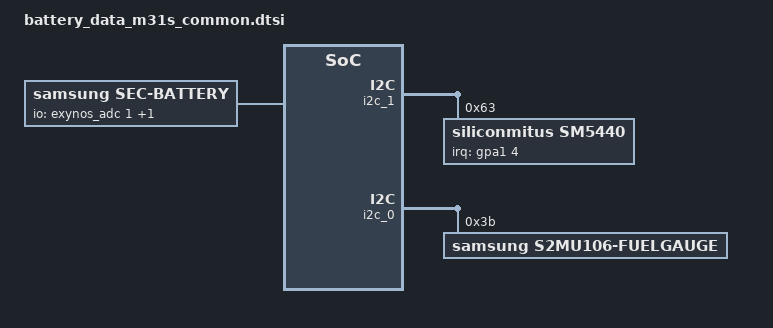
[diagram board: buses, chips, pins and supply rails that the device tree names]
/*
 * Vogue battery device tree common
 *
 * Copyright (c) 2020 Samsung Electronics Co., Ltd.
 *		http://www.samsung.com
 *
 * This program is free software; you can redistribute it and/or modify
 * it under the terms of the GNU General Public License version 2 as
 * published by the Free Software Foundation.
 */

#include <dt-bindings/battery/sec_battery_param_define.h>

/ {
	fragment@battery {
		target-path = "/";
		__overlay__ {
			pdic-manager {
				/* sink */
				pdic,max_power = <5000>;
				pdic,op_power = <2500>;
				pdic,max_voltage = <6000>;
				pdic,max_current = <2000>;
				pdic,min_current = <500>;

				pdic,giveback = <0>;
				pdic,usb_com_capable = <1>;
				pdic,no_usb_suspend = <1>;

				/* source */
				source,max_voltage = <5000>;
				source,min_voltage = <4000>;
				source,max_power = <2500>;

				/* sink cap */
				sink,capable_max_voltage = <5000>;
			};

			sec-direct-charger {
				status = "okay";
				compatible = "samsung,sec-direct-charger";

				charger,battery_name = "battery";
				charger,main_charger = "s2mu106-charger";
				charger,direct_charger = "sm5440-charger";

				charger,dchg_min_current = <2000>;
				charger,dchg_temp_low_threshold = <180>;
				charger,dchg_temp_high_threshold = <410>;

			};

			battery {
				status = "okay";
				compatible = "samsung,sec-battery";

				pinctrl-names = "default";

				battery,vendor = "Battery";
				battery,charger_name = "sec-direct-charger";
				battery,fuelgauge_name = "s2mu106-fuelgauge";
				battery,technology = <2>; /* POWER_SUPPLY_TECHNOLOGY_LION */
				battery,fgsrc_switch_name = "s2mu106-fuelgauge"; /* Fuelgauge voltage source */

				battery,batt_data_version = <1>;

				battery,chip_vendor = "LSI";
				battery,temp_adc_type = <SEC_BATTERY_ADC_TYPE_AP>;

				battery,temp_check_type = <SEC_BATTERY_TEMP_CHECK_TEMP>;
				battery,usb_temp_check_type = <SEC_BATTERY_TEMP_CHECK_NONE>;
				battery,chg_temp_check_type = <SEC_BATTERY_TEMP_CHECK_TEMP>;
				battery,wpc_temp_check_type = <SEC_BATTERY_TEMP_CHECK_NONE>;
				battery,dchg_temp_check_type = <SEC_BATTERY_TEMP_CHECK_ADC>;

				battery,thermal_source = <SEC_BATTERY_THERMAL_SOURCE_ADC>;
				battery,usb_thermal_source = <SEC_BATTERY_THERMAL_SOURCE_ADC>;
				battery,chg_thermal_source = <SEC_BATTERY_THERMAL_SOURCE_FG>;
				battery,wpc_thermal_source = <SEC_BATTERY_THERMAL_SOURCE_ADC>;
				battery,coil_thermal_source = <SEC_BATTERY_THERMAL_SOURCE_ADC>;
				battery,dchg_thermal_source = <SEC_BATTERY_THERMAL_SOURCE_FG>;

				battery,polling_time = <10 30 30 30 3600>;

				battery,temp_table_adc = <310 345 405 477 551 645 784 876 1019 1181
					1366 1562 1785 2006 2229 2475 2705 2915 3112 3318 3438 3539 3681>;
				battery,temp_table_data = <900 850 800 750 700 650 600 550 500 450
					400 350 300 250 200 150 100 50 0 (-50) (-100) (-150) (-200)>;

				battery,usb_temp_table_adc = <294 345 404 474 558 655 769 887 1021 1189
					1378 1586 1811 2048 2291 2512 2726 2932 3122 3293 3445 3575 3686>;
				battery,usb_temp_table_data = <900 850 800 750 700 650 600 550 500 450
					400 350 300 250 200 150 100 50 0 (-50) (-100) (-150) (-200)>;

				battery,chg_temp_table_adc = <285 320 380 450 528 617 743 850 992 1154
					1342 1537 1708 1982 2170 2450 2687 2900 3098 3272 3413 3467 3654>;
				battery,chg_temp_table_data = <900 850 800 750 700 650 600 550 500 450
					400 350 300 250 200 150 100 50 0 (-50) (-100) (-150) (-200)>;

				battery,wpc_temp_table_adc = <294 345 404 474 558 655 769 887 1021 1189
					1378 1586 1811 2048 2291 2512 2726 2932 3122 3293 3445 3575 3686>;
				battery,wpc_temp_table_data = <900 850 800 750 700 650 600 550 500 450
					400 350 300 250 200 150 100 50 0 (-50) (-100) (-150) (-200)>;

				battery,inbat_voltage = <1>;
				battery,inbat_voltage_table_adc = <2817 2803 2783 2753 2728 2701 2680 2654 2628 2597
								2565 2536 2509 2478 2450 2426 2401 2372 2343 2321 2290>;
				battery,inbat_voltage_table_data = <4383 4352 4306 4253 4204 4152 4101 4053 4002 3954
								3903 3852 3801 3750 3702 3654 3601 3552 3503 3456 3402>;

				battery,adc_check_count = <5>;

				battery,cable_check_type = <SEC_BATTERY_CABLE_CHECK_PSY>;
				battery,cable_source_type = <SEC_BATTERY_CABLE_SOURCE_EXTERNAL>;
				battery,polling_type = <SEC_BATTERY_MONITOR_ALARM>;
				battery,monitor_initial_count = <0>;

				battery,battery_check_type = <0>; /* SEC_BATTERY_CHECK_NONE */
				battery,check_count = <0>;
				battery,check_adc_max = <1440>;
				battery,check_adc_min = <0>;

				battery,ovp_uvlo_check_type = <SEC_BATTERY_OVP_UVLO_CHGPOLLING>;

				battery,temp_check_count = <1>;
				battery,overheatlimit_threshold = <700>;
				battery,overheatlimit_recovery = <680>;
				battery,usb_protection_temp = <610>;
				battery,temp_gap_bat_usb = <200>;

				battery,wire_warm_overheat_thresh = <500>;
				battery,wire_normal_warm_thresh = <410>;
				battery,wire_cool1_normal_thresh = <180>;
				battery,wire_cool2_cool1_thresh = <150>;
				battery,wire_cool3_cool2_thresh = <50>;
				battery,wire_cold_cool3_thresh = <0>;
				battery,wireless_warm_overheat_thresh = <450>;
				battery,wireless_normal_warm_thresh = <410>;
				battery,wireless_cool1_normal_thresh = <180>;
				battery,wireless_cool2_cool1_thresh = <150>;
				battery,wireless_cool3_cool2_thresh = <50>;
				battery,wireless_cold_cool3_thresh = <0>;

				battery,wire_warm_current = <2050>;	/* 0.36C */
				battery,wire_cool1_current = <3150>;	/* 0.72C */
				battery,wire_cool2_current = <1350>;	/* 0.24C */
				battery,wire_cool3_current = <550>;	/* 0.1C */
				battery,wireless_warm_current = <1050>;		/* 0.24C */
				battery,wireless_cool1_current = <3150>;	/* 0.72C */
				battery,wireless_cool2_current = <1050>;	/* 0.24C */
				battery,wireless_cool3_current = <450>;		/* 0.1C */

				battery,high_temp_topoff = <300>;
				battery,low_temp_topoff = <300>;
				battery,high_temp_float = <4150>;
				battery,low_temp_float = <4380>;

				battery,swelling_high_rechg_voltage = <4000>;
				battery,swelling_low_rechg_voltage = <4230>;

				battery,full_check_type = <SEC_BATTERY_FULLCHARGED_FG_CURRENT>;
				battery,full_check_type_2nd = <SEC_BATTERY_FULLCHARGED_FG_CURRENT>;
				battery,full_check_count = <1>;
				battery,chg_gpio_full_check = <0>;
				battery,chg_polarity_full_check = <1>;

				battery,chg_high_temp = <490>;
				battery,chg_high_temp_recovery = <450>;
				battery,dchg_high_temp = <490>;
				battery,dchg_high_temp_recovery = <450>;
				battery,dchg_high_batt_temp = <400>;
				battery,dchg_high_batt_temp_recovery = <380>;
				battery,chg_input_limit_current = <1000>;
				battery,chg_charging_limit_current = <1700>;
				battery,dchg_input_limit_current = <1000>;
				battery,dchg_charging_limit_current = <2000>;

				battery,wpc_temp_control_source = <TEMP_CONTROL_SOURCE_BAT_THM>;
				battery,wpc_high_temp = <410>;
				battery,wpc_high_temp_recovery = <400>;
				battery,wpc_charging_limit_current = <450>;
				battery,wpc_lcd_on_high_temp = <430>;
				battery,wpc_lcd_on_high_temp_rec = <300>;

				battery,wpc_store_high_temp = <410>;
				battery,wpc_store_high_temp_recovery = <400>;
				battery,wpc_store_lcd_on_high_temp = <380>;
				battery,wpc_store_lcd_on_high_temp_rec = <300>;

				battery,ta_alert_wa;

				battery,sleep_mode_limit_current = <500>;
				battery,wc_full_input_limit_current = <100>;
				battery,wc_cv_current = <820>;
				battery,wc_cv_pack_current = <630>;
				battery,wc_hero_stand_cc_cv = <70>;
				battery,wc_hero_stand_cv_current = <600>;
				battery,wc_hero_stand_hv_cv_current = <450>;

				battery,mix_high_temp = <420>;
				battery,mix_high_chg_temp = <500>;
				battery,mix_high_temp_recovery = <390>;

				/* SEC_BATTERY_FULL_CONDITION_NOTIMEFULL | SEC_BATTERY_FULL_CONDITION_VCELL */
				battery,full_condition_type = <13>;
				battery,full_condition_soc = <93>;
				battery,full_condition_vcell = <4330>;

				battery,recharge_check_count = <1>;
				battery,recharge_condition_type = <SEC_BATTERY_RECHARGE_CONDITION_VCELL>;
				battery,recharge_condition_soc = <98>;
				battery,recharge_condition_vcell = <4310>;

				battery,charging_total_time = <14400>;
				battery,hv_charging_total_time = <10800>;
				battery,normal_charging_total_time = <18000>;
				battery,usb_charging_total_time = <36000>;
				battery,recharging_total_time = <5400>;
				battery,charging_reset_time = <0>;
				battery,chg_float_voltage = <4380>;
				battery,chg_float_voltage_conv = <1>;

				battery,siop_event_check_type = <1>;
				battery,siop_call_cv_current = <330>;
				battery,siop_call_cc_current = <330>;

				battery,pre_afc_work_delay = <2000>;
				battery,pre_wc_afc_work_delay = <4000>;
				battery,pre_afc_input_current = <500>;
				battery,pre_wc_afc_input_current = <500>;
				battery,prepare_ta_delay = <0>; /* msec */

				battery,siop_input_limit_current = <1200>;
				battery,siop_charging_limit_current = <1000>;
				battery,siop_hv_input_limit_current = <700>;
				battery,siop_hv_input_limit_current_2nd = <450>;
				battery,siop_hv_charging_limit_current = <1000>;
				battery,siop_apdo_input_limit_current = <1200>;
				battery,siop_apdo_charging_limit_current = <2000>;

				battery,siop_wireless_input_limit_current = <600>;
				battery,siop_wireless_charging_limit_current = <700>;
				battery,siop_hv_wireless_input_limit_current = <600>;
				battery,siop_hv_wireless_charging_limit_current = <700>;
				battery,siop_store_hv_wireless_input_limit_current = <450>;

				battery,rp_current_rp1 = <500>;
				battery,rp_current_rp2 = <1500>;
				battery,rp_current_rp3 = <3000>;
				battery,rp_current_rdu_rp3 = <2100>;
				battery,rp_current_abnormal_rp3 = <1800>;

				battery,pd_charging_charge_power = <15000>;
				battery,max_charging_current = <3150>;
				battery,max_charging_charge_power = <25000>; /* 25W */

				/* cycle, chg_float_voltage, recharge_condition_vcell, full_condition_vcell, full_condition_soc */
				battery,age_data = <0 4380 4310 4330 93
					300 4360 4290 4310 92
					400 4340 4270 4290 91
					700 4320 4250 4270 90
					1000 4270 4200 4220 89>;

				battery,health_condition = <
					/* CYCLE ASOC */
					900 0  /* GOOD */
					1200 0 /* NORMAL */
					1500 0 /* AGED */
					>;

				/* step charging option */
				battery,step_charging_type = <0>;
				battery,step_charging_charge_power = <12000>;
				battery,step_charging_condition = <45 100>;
				battery,step_charging_condition_curr = <3150 3150>;
				battery,step_charging_current = <3150 3150>;
				battery,step_charging_float_voltage = <4150 4380>;

				/* direct step charging option */
				battery,dc_step_chg_type = <0xE9>;
				battery,dc_step_chg_charge_power = <22000>;
				battery,dc_step_chg_step = <3>;
				battery,dc_step_chg_cond_vol = <4090 4190 4380>; /* STEP_CHARGING_CONDITION_VOLTAGE */
				battery,dc_step_chg_cond_iin = <1950 1800 0>; /* STEP_CHARGING_CONDITION_INPUT_CURRENT */
				battery,dc_step_chg_iin_check_cnt = <3>;
				battery,dc_step_chg_cond_soc = <12 50 100>; /* STEP_CHARGING_CONDITION_SOC */
				battery,dc_step_chg_val_vfloat = <4090 4190 4380>; /* STEP_CHARGING_CONDITION_FLOAT_VOLTAGE */
				battery,dc_step_chg_val_iout = <4800 3900 3600>;

				battery,max_input_voltage = <9000>; /* mV */
				battery,max_input_current = <3000>;  /* mA */

				battery,enable_sysovlo_irq;
				battery,enable_noise_wa;

				battery,standard_curr = <3600>;
				battery,expired_time = <11400>;		/*130 + 60 min*/
				battery,recharging_expired_time = <5400>;

				battery,battery_full_capacity = <6000>;
				battery,cisd_max_voltage_thr = <5000>; /* batttery ovp dettection voltage */
				battery,cisd_alg_index = <8>;
				battery,ignore_cisd_index = <0 960>; /* Do not use AFC_FAIL to DROP_VALUE */
				battery,ignore_cisd_index_d = <0 120>; /* Do not use AFC_FAIL_PER_DAY to DROP_VALUE_PER_DAY */

				io-channels = <&exynos_adc 1>, <&exynos_adc 2>;
				io-channel-names = "adc-temp", "adc-in-bat";
				#io-channel-cells = <5>;
				io-channel-ranges;

				battery,ttf_hv_charge_current = <2700>;
				battery,ttf_dc25_charge_current = <3340>;
				battery,ttf_capacity = <4600>;
				battery,cv_data = <
							3384	802		2080
							3274	811		2029
							3122	820		1968
							2985	830		1907
							2817	841		1836
							2636	850		1765
							2546	860		1694
							2334	870		1602
							2275	880		1531
							2145	890		1430
							1982	900		1344
							1845	910		1242
							1755	920		1130
							1593	930		1018
							1432	940		886
							1339	950		734
							1215	960		591
							1068	970		428
							994		980		265
							935		990		143
							897		1000	0
							>;
			};

			battery_params {
				battery,battery_data =
					<
					/***** battery data for 4.38 *****/
					/* battery,battery_table3 */
					44	11	176	10	53	10	189	9	73	9
					219	8	116	8	22	8	194	7	86	7
					252	6	195	6	151	6	115	6	85	6
					51	6	4	6	213	5	147	5	126	5
					153	3	107	1	107	8	0	8	149	7
					42	7	190	6	83	6	232	5	125	5
					17	5	166	4	59	4	208	3	100	3
					249	2	142	2	35	2	184	1	76	1
					225	0	118	0	11	0	233	15

					/* battery,battery_table4 */
					10	10	10	10	41	41	41	41	41	41
					42	43	43	43	43	43	43	44	45	46
					51	154

					/* battery,batcap */
					0x68 0x56 0x33 0x10 /* [0x0E] [0x0F] [0x10] [0x11] */
					/* battery,accum */
					0x00 0x08 /* [0x44] [0x45] */

					/* battery,soc_arr_val */
					10524	10000	9476	8953	8429	7906	7382	6858	6335	5811
					5288	4764	4241	3717	3194	2670	2146	1623	1099	576
					52	(-111)

					/* battery,ocv_arr_val */
					43963	43361	42759	42175	41608	41069	40566	40108	39696	39170
					38729	38454	38237	38061	37915	37749	37521	37289	36969	36865
					34496	31771

					/* battery,tuning */
					0x00

					/***** battery data for 4.36 *****/
					/* battery,battery_table3 */
					44 11 176 10 53 10 189 9 73 9
					219 8 116 8 22 8 194 7 86 7
					252 6 195 6 151 6 115 6 85 6
					51 6 4 6 213 5 147 5 126 5
					153 3 107 1 136 8 28 8 176 7
					67 7 215 6 106 6 254 5 146 5
					37 5 185 4 76 4 224 3 116 3
					7 3 155 2 47 2 194 1 86 1
					234 0 125 0 17 0 239 15

					/* battery,battery_table4 */
					10 10 10 10 41 41 41 41 41 41
					42 43 43 43 43 43 43 44 45 46
					51 154

					/* battery,batcap */
					0xEC 0x55 0x1C 0x10 /* [0x0E] [0x0F] [0x10] [0x11] */
					/* battery,accum */
					0x00 0x08 /* [0x44] [0x45] */

					/* battery,soc_arr_val */
					10665 10136 9607 9078 8549 8020 7491 6961 6432 5903
					5374 4844 4315 3786 3257 2728 2199 1670 1141 611
					82 (-82)

					/* battery,ocv_arr_val */
					43963 43361 42759 42175 41608 41069 40566 40108 39696 39170
					38729 38454 38237 38061 37915 37749 37521 37289 36969 36865
					34496 31771

					/* battery,tuning */
					0x00

					/***** battery data for 4.34 *****/
					/* battery,battery_table3 */
					44 11 176 10 53 10 189 9 73 9
					219 8 116 8 22 8 194 7 86 7
					252 6 195 6 151 6 115 6 85 6
					51 6 4 6 213 5 147 5 126 5
					153 3 107 1 175 8 64 8 210 7
					100 7 246 6 135 6 25 6 171 5
					60 5 206 4 96 4 242 3 131 3
					21 3 167 2 56 2 202 1 92 1
					238 0 127 0 17 0 239 15

					/* battery,battery_table4 */
					10 10 10 10 41 41 41 41 41 41
					42 43 43 43 43 43 43 44 45 46
					51 154

					/* battery,batcap */
					0x70 0x54 0xD5 0x0F /* [0x0E] [0x0F] [0x10] [0x11] */
					/* battery,accum */
					0x00 0x08 /* [0x44] [0x45] */

					/* battery,soc_arr_val */
					10853 10314 9776 9237 8699 8161 7622 7083 6545 6006
					5468 4929 4391 3853 3314 2776 2237 1699 1161 622
					84 (-84)

					/* battery,ocv_arr_val */
					43963 43361 42759 42175 41608 41069 40566 40108 39696 39170
					38729 38454 38237 38061 37915 37749 37521 37289 36969 36865
					34496 31771


					/* battery,tuning */
					0x00

					/***** battery data for 4.32 *****/
					/* battery,battery_table3 */
					44 11 176 10 53 10 189 9 73 9
					219 8 116 8 22 8 194 7 86 7
					252 6 195 6 151 6 115 6 85 6
					51 6 4 6 213 5 147 5 126 5
					153 3 107 1 229 8 116 8 3 8
					146 7 33 7 176 6 63 6 206 5
					93 5 236 4 123 4 10 4 153 3
					40 3 183 2 70 2 213 1 101 1
					244 0 131 0 18 0 238 15

					/* battery,battery_table4 */
					10 10 10 10 41 41 41 41 41 41
					42 43 43 43 43 43 43 44 45 46
					51 154

					/* battery,batcap */
					0x68 0x52 0x73 0x0F /* [0x0E] [0x0F] [0x10] [0x11] */
					/* battery,accum */
					0x00 0x08 /* [0x44] [0x45] */

					/* battery,soc_arr_val */
					11120 10568 10016 9465 8913 8361 7810 7257 6706 6154
					5602 5051 4499 3947 3396 2844 2292 1741 1189 637
					86 (-86)

					/* battery,ocv_arr_val */
					43963 43361 42759 42175 41608 41069 40566 40108 39696 39170
					38729 38454 38237 38061 37915 37749 37521 37289 36969 36865
					34496 31771

					/* battery,tuning */
					0x00

					/***** battery data for 4.27 *****/
					/* battery,battery_table3 */
					44 11 176 10 53 10 189 9 73 9
					219 8 116 8 22 8 194 7 86 7
					252 6 195 6 151 6 115 6 85 6
					51 6 4 6 213 5 147 5 126 5
					153 3 107 1 77 9 215 8 97 8
					235 7 117 7 254 6 136 6 18 6
					156 5 38 5 176 4 57 4 195 3
					77 3 215 2 97 2 235 1 117 1
					255 0 137 0 18 0 238 15

					/* battery,battery_table4 */
					10 10 10 10 41 41 41 41 41 41
					42 43 43 43 43 43 43 44 45 46
					51 154

					/* battery,batcap */
					0xD4 0x4E 0xC7 0x0E /* [0x0E] [0x0F] [0x10] [0x11] */
					/* battery,accum */
					0x00 0x08 /* [0x44] [0x45] */

					/* battery,soc_arr_val */
					11626 11049 10472 9896 9319 8742 8165 7588 7011 6434
					5858 5281 4704 4127 3550 2974 2397 1820 1243 667
					90 (-90)

					/* battery,ocv_arr_val */
					43963 43361 42759 42175 41608 41069 40566 40108 39696 39170
					38729 38454 38237 38061 37915 37749 37521 37289 36969 36865
					34496 31771

					/* battery,tuning */
					0x00
					>;
			};

			s2mu106-charger {
				status = "disable";
				compatible = "samsung,s2mu106-charger";
			};

			/* sec_battery_cable
			*	0	UNKNOWN,
			*	1	NONE,
			*	2	PREPARE_TA,
			*	3	TA,
			*	4	USB,
			*	5	USB_CDP,
			*	6	9V_TA,
			*	7	9V_ERR,
			*	8	9V_UNKNOWN,
			*	9	12V_TA,
			*	10	WIRELESS,
			*	11	HV_WIRELESS,
			*	12	PMA_WIRELESS,
			*	13	WIRELESS_PACK,
			*	14	CABLE_WIRELESS_HV_PACK,
			*	15	WIRELESS_STAND,
			*	16	WIRELESS_HV_STAND,
			*	17	QC20,
			*	18	QC30,
			*	19	PDIC,
			*	20	UARTOFF,
			*	21	OTG,
			*	22	LAN_HUB,
			*	23	POWER_SHARING,
			*	24	HMT_CONNECTED,
			*	25	HMT_CHARGE,
			*	26	HV_TA_CHG_LIMIT,
			*	27	WIRELESS_VEHICLE,
			*	28	WIRELESS_HV_VEHICLE,
			*	29	PREPARE_WIRELESS_HV,
			*	30	TIMEOUT,
			*	31	SMART_OTG,
			*	32	SMART_NOTG,
			*	33	WIRELESS_TX,
			*	34	HV_WIRELESS_20,
			*	35	HV_WIRELESS_20_LIMIT,
			*	36	WIRELESS_FAKE,
			*	37	PREPARE_WIRELESS_20,
			*	38	CABLE_PDIC_APDO,
			*	39	SEC_BATTERY_CABLE_POGO,
			*	40	CABLE_MAX,
			*/

			cable-info {
				default_input_current = <1800>;
				default_charging_current = <2100>;
				full_check_current_1st = <900>;
				full_check_current_2nd = <300>;

				current_group_1 {
					cable_number = <
						SEC_BATTERY_CABLE_PREPARE_TA
						SEC_BATTERY_CABLE_PDIC
						SEC_BATTERY_CABLE_OTG
						SEC_BATTERY_CABLE_LAN_HUB
						SEC_BATTERY_CABLE_POWER_SHARING>;
					input_current = <500>;
					charging_current = <500>;
				};
				current_group_2 {
					cable_number = <
						SEC_BATTERY_CABLE_HMT_CHARGE
						SEC_BATTERY_CABLE_SMART_OTG>;
					input_current = <1000>;
					charging_current = <1000>;
				};
				current_group_3 {
					cable_number = <
						SEC_BATTERY_CABLE_USB_CDP
						SEC_BATTERY_CABLE_SMART_NOTG>;
					input_current = <1500>;
					charging_current = <1500>;
				};
				current_group_4 {
					cable_number = <
						SEC_BATTERY_CABLE_9V_TA
						SEC_BATTERY_CABLE_9V_ERR
						SEC_BATTERY_CABLE_9V_UNKNOWN
						SEC_BATTERY_CABLE_QC20
						SEC_BATTERY_CABLE_QC30>;
					input_current = <1650>;
					charging_current = <3150>;
				};
				current_group_5 {
					cable_number = <SEC_BATTERY_CABLE_12V_TA>;
					input_current = <1650>;
					charging_current = <3150>;
				};
				current_group_6 {
					cable_number = <
						SEC_BATTERY_CABLE_WIRELESS
						SEC_BATTERY_CABLE_PMA_WIRELESS
						SEC_BATTERY_CABLE_WIRELESS_STAND
						SEC_BATTERY_CABLE_WIRELESS_VEHICLE
						SEC_BATTERY_CABLE_WIRELESS_TX
						SEC_BATTERY_CABLE_WIRELESS_FAKE>;
					input_current = <800>;
					charging_current = <3150>;
				};
				current_group_7 {
					cable_number = <SEC_BATTERY_CABLE_WIRELESS_PACK>;
					input_current = <700>;
					charging_current = <3150>;
				};
				current_group_8 {
					cable_number = <SEC_BATTERY_CABLE_HMT_CONNECTED>;
					input_current = <1000>;
					charging_current = <450>;
				};
				current_group_9 {
					cable_number = <SEC_BATTERY_CABLE_HV_TA_CHG_LIMIT>;
					input_current = <2000>;
					charging_current = <1800>;
				};
				current_group_10 {
					cable_number = <
						SEC_BATTERY_CABLE_HV_WIRELESS
						SEC_BATTERY_CABLE_WIRELESS_HV_PACK
						SEC_BATTERY_CABLE_WIRELESS_HV_STAND
						SEC_BATTERY_CABLE_WIRELESS_HV_VEHICLE
						SEC_BATTERY_CABLE_HV_WIRELESS_20_LIMIT>;
					input_current = <750>;
					charging_current = <3150>;
				};
				current_group_11 {
					cable_number = <
						SEC_BATTERY_CABLE_PREPARE_WIRELESS_HV
						SEC_BATTERY_CABLE_PREPARE_WIRELESS_20>;
					input_current = <500>;
					charging_current = <1400>;
				};
				current_group_12 {
					cable_number = <
						SEC_BATTERY_CABLE_NONE
						SEC_BATTERY_CABLE_USB
						SEC_BATTERY_CABLE_TIMEOUT>;
					input_current = <475>;
					charging_current = <550>;
				};
				current_group_14 {
					cable_number = <SEC_BATTERY_CABLE_HV_WIRELESS_20>;
					input_current = <1200>;
					charging_current = <3150>;
				};
			};
		};
	};
};

&pinctrl_1 {
	fuel_irq: fuel-irq {
		samsung,pins = "gpm20-0";
		samsung,pin-function = <0>;
		samsung,pin-pud = <3>;
		samsung,pin-drv = <0>;
		samsung,pin-pud-pdn = <3>;
	};
};

&pinctrl_0 {
	dc_irq: dc-irq {
		samsung,pins = "gpa1-4";
		samsung,pin-function = <0x0f>;
		samsung,pin-pud = <0>;
		samsung,pin-drv = <0>;
	};
};

&i2c_1 {
	status = "okay";
	sm5440@63 {
		compatible = "siliconmitus,sm5440";
		reg = <0x63>;
		pinctrl-0 = <&dc_irq>;
		sm5440,irq-gpio = <&gpa1 4 0>;
		pinctrl-names = "default";
		sm5440,ta_min_curr = <1000>;
		sm5440,ta_min_voltage = <8200>;
		sm5440,dc_min_vbat = <3500>;
		sm5440,PPS_LR = <310000>;
		sm5440,RPARA = <150000>;
		sm5440,RSNS = <0>;
		sm5440,RPCM = <27500>;
		sm5440,cv_gl_offset = <0>;
		sm5440,ci_gl_offset = <150>;
		sm5440,cc_gl_offset = <300>;
		sm5440,freq = <1100>;
	};

};

&i2c_0 {
 	s2mu106-fuelgauge@3B {
		compatible = "samsung,s2mu106-fuelgauge";
		status = "okay";
		reg = <0x3B>;
		pinctrl-names = "default";
		pinctrl-0 = <&fuel_irq>;
		fuelgauge,fuel_int = <&gpm20 0 0>;
		fuelgauge,fuel_alert_soc = <1>;
		fuelgauge,fuel_alert_vol = <3300>;
		fuelgauge,low_temp_limit = <100>;
		fuelgauge,low_voltage_limit_lowtemp = <3000>;
		fuelgauge,i_socr_coeff = <80>;
		fuelgauge,low_t_compen_coeff = <180>;
		fuelgauge,sw_vbat_l_recovery_vol = <3465>;
		fuelgauge,capacity_max = <990>;
		fuelgauge,capacity_max_margin = <200>;
		fuelgauge,capacity_min = <0>;
		fuelgauge,capacity_calculation_type = <28>;
		fuelgauge,capacity_full = <6000>;
		fuelgauge,type_str = "SDI";
		fuelgauge,fg_log_enable = <1>;

	};
};
